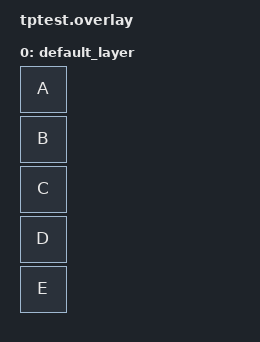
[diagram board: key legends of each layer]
/*
 * Copyright (c) 2022 The ZMK Contributors
 *
 * SPDX-License-Identifier: MIT
 */

#include <behaviors.dtsi>
#include <dt-bindings/zmk/keys.h>

/ {
	chosen {
		zmk,kscan = &kscan0;
	};
	
	kscan0: kscan {
		compatible = "zmk,kscan-gpio-direct";
	
		label = "KSCAN";
	
		input-gpios
			// Blackpill onboard user key button on pin 10
			= <&xiao_d 0 (GPIO_ACTIVE_LOW | GPIO_PULL_UP)>
	
			// Switches connected directly to gpio pins
			, <&xiao_d 1 (GPIO_ACTIVE_LOW | GPIO_PULL_UP)>
			, <&xiao_d 2 (GPIO_ACTIVE_LOW | GPIO_PULL_UP)>
			, <&xiao_d 3 (GPIO_ACTIVE_LOW | GPIO_PULL_UP)>
			, <&xiao_d 4 (GPIO_ACTIVE_LOW | GPIO_PULL_UP)>
			;
	
	};

};
/ {
    keymap {
        compatible = "zmk,keymap";

        default_layer {
            bindings = <
                // Blackpill onboard user key button
                &kp A

                // Switches connected directly to gpio pins
                &kp B
                &kp C
                &kp D
                &kp E
            >;
        };
    };
};
// The PS/2 GPIO and mouse drivers.
/ {
    gpio_ps2: gpio_ps2 {
	status = "okay";
        compatible = "gpio-ps2";
        label = "gpio_ps2";
        scl-gpios = <&xiao_d 10 0>;
        sda-gpios = <&xiao_d 9 0>;
    };
};

/ {
    mouse_ps2: mouse_ps2 {
	status = "okay";
        compatible = "zmk,ps2-mouse";
        label = "ps2_mouse";
        ps2-device = <&gpio_ps2>;
        rst-gpios = <&xiao_d 8 0>;
    };
};

// Adjust GPIO interrupt priority to the highest level.
// PS/2 events must be processed within 30-50us. Therefore we change the
// default gpio priority to the highest and we demote all BT interrupt
// priorities by one level.
//
// This allows the PS/2 interrupts to be triggered in time.
&gpiote {
	interrupts = < 0x6 0 >;
};
